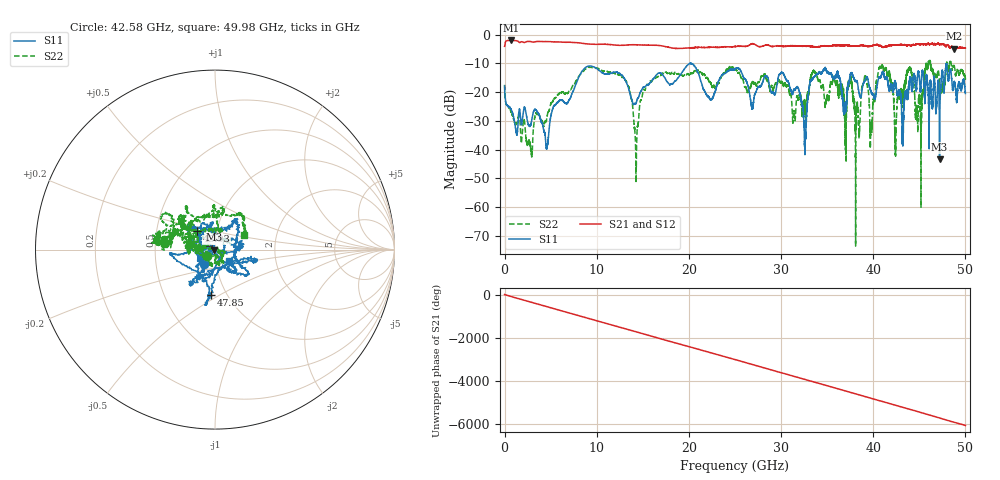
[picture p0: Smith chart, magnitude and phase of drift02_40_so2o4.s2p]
!Created with skrf (http://scikit-rf.org).
# Hz S RI R 50.0
!freq ReS11 ImS11 ReS21 ImS21 ReS12 ImS12 ReS22 ImS22
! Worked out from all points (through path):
!   10001 points, 300 kHz to 50 GHz, reference 50 ohm
!   highest |S21| = -2.00 dB at 700.3 MHz (marker M1); lowest = -4.9 dB at 48.77 GHz (marker M2)
!   group delay of S21, straight-line fit = 337 ps
!   lowest |S11| = -43.3 dB at 47.2 GHz (marker M3), VSWR 1.01, Z = 49.3 - j0.0682 ohm
!   |S11| at or under -10 dB: start of sweep to 20.06 GHz; 20.20678 GHz to 20.22194 GHz (15.16 MHz wide, 0.075 % of centre); 20.24 GHz to end of sweep (the widest 3 of 5)
!   |S22| runs from -73.5 to -8.9 dB; largest |S21 - S12| = 0.032
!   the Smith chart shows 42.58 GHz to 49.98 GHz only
!   S11 on the Smith chart (normalised r, x): 42.58 GHz: 0.88, -0.15; 43.93 GHz: 0.81, +0.17; 47.85 GHz: 0.84, -0.45; 49.98 GHz: 1.15, -0.15
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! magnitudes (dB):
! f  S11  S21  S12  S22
! 300 kHz  -17.9  -4.0  -4.0  -17.4
! 700.3 MHz  -25.9  -2.0  -2.0  -26.7
! 4.575 GHz  -39.4  -2.4  -2.4  -29.1
! 8.335 GHz  -13.0  -2.9  -2.9  -13.2
! 13.01 GHz  -15.3  -3.7  -3.6  -15.7
! 14.28 GHz  -23.8  -3.5  -3.5  -48.2
! 16.67 GHz  -13.4  -3.7  -3.7  -14.5
! 25 GHz  -12.1  -4.1  -4.1  -12.1
! 30.18 GHz  -13.3  -4.1  -4.1  -16.8
! 32.56 GHz  -39.1  -3.9  -3.9  -24.6
! 33.34 GHz  -15.7  -4.0  -4.1  -13.6
! 38.29 GHz  -16.9  -3.9  -3.9  -23.8
! 41.67 GHz  -18.4  -3.8  -3.9  -13.1
! 42.58 GHz  -19.8  -3.5  -3.5  -24.6
! 43.93 GHz  -17.0  -3.6  -3.6  -11.8
! 44.99 GHz  -14.2  -3.4  -3.3  -22.5
! 45.91 GHz  -18.2  -3.2  -3.2  -10.6
! 47.2 GHz  -43.3  -3.5  -3.4  -16.7
! 47.85 GHz  -12.0  -4.0  -4.0  -14.1
! 48.77 GHz  -17.0  -4.9  -4.8  -10.7
! 49.98 GHz  -20.1  -4.6  -4.6  -14.8
! 50 GHz  -20.4  -4.6  -4.6  -15.2
